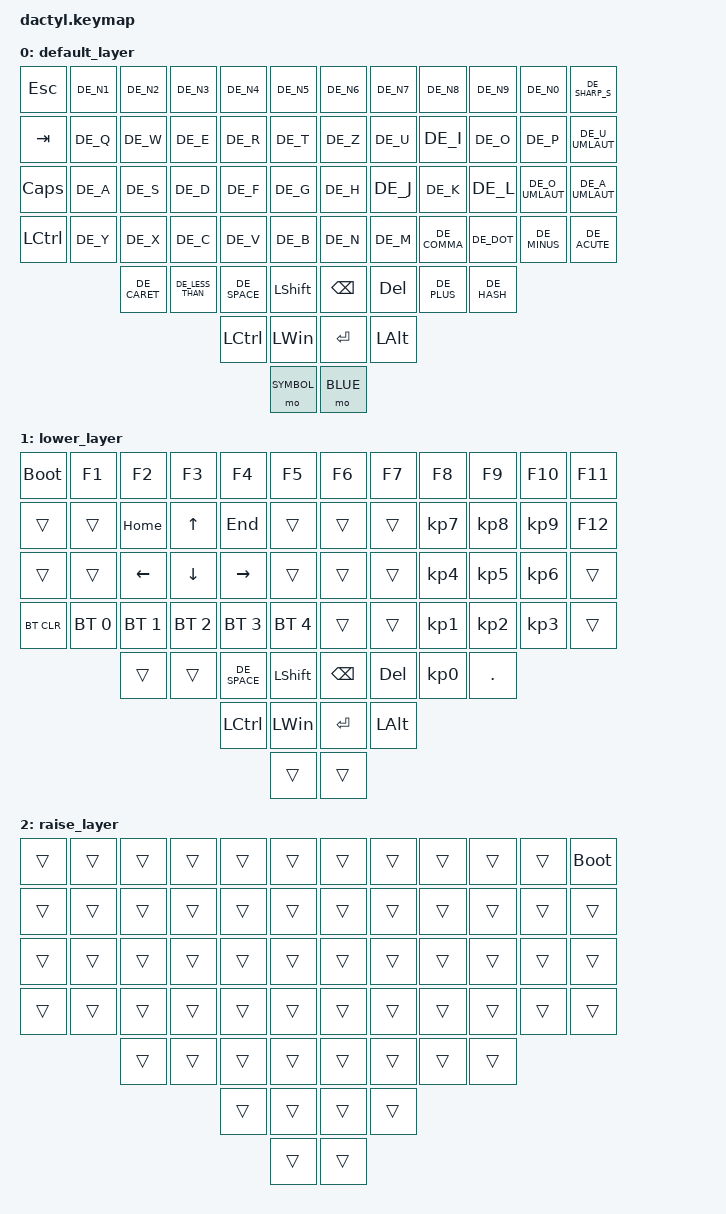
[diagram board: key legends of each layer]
/*
 * Copyright (c) 2020 The ZMK Contributors
 *
 * SPDX-License-Identifier: MIT
 */

#include <behaviors.dtsi>
#include <dt-bindings/zmk/keys.h>
#include <dt-bindings/zmk/bt.h>
#include <locale/keys_de.h>

#define DEFAULT   0
#define BLUE      1
#define SYMBOL	  2

/ {
        keymap {
                compatible = "zmk,keymap";

                default_layer {

                        bindings = <
   &kp ESC   &kp DE_N1       &kp DE_N2     &kp DE_N3 		 &kp DE_N4           &kp DE_N5   			&kp DE_N6  &kp DE_N7  &kp DE_N8     &kp DE_N9   &kp DE_N0       &kp DE_SHARP_S 
   &kp TAB   &kp DE_Q        &kp DE_W      &kp DE_E          &kp DE_R            &kp DE_T   			&kp DE_Z   &kp DE_U   &kp DE_I      &kp DE_O    &kp DE_P        &kp DE_U_UMLAUT 
   &kp CAPS  &kp DE_A        &kp DE_S      &kp DE_D          &kp DE_F            &kp DE_G    			&kp DE_H   &kp DE_J   &kp DE_K      &kp DE_L    &kp DE_O_UMLAUT &kp DE_A_UMLAUT
   &kp LCTRL &kp DE_Y        &kp DE_X      &kp DE_C          &kp DE_V            &kp DE_B    			&kp DE_N   &kp DE_M   &kp DE_COMMA  &kp DE_DOT  &kp DE_MINUS    &kp DE_ACUTE
                             &kp DE_CARET  &kp DE_LESS_THAN  &kp DE_SPACE        &kp LSHFT       	    &kp BSPC   &kp DEL    &kp DE_PLUS   &kp DE_HASH
											                 &kp LEFT_CONTROL    &kp LEFT_WIN           &kp ENTER  &kp LEFT_ALT
														                         &mo SYMBOL           	&mo BLUE
                        >;
                };
                lower_layer {

                        bindings = <
	&bootloader    	&kp F1      	&kp F2    			&kp F3     		&kp F4       	    &kp F5         				&kp F6  	&kp F7   &kp F8   		&kp F9    	&kp F10 	&kp F11
	&trans  		&trans  		&kp HOME    		&kp UP  		&kp END			    &trans						&trans		&trans   &kp KP_N7   	&kp KP_N8   &kp KP_N9 	&kp F12
	&trans         	&trans      	&kp LEFT     		&kp DOWN       	&kp RIGHT           &trans         				&trans  	&trans   &kp KP_N4   	&kp KP_N5   &kp KP_N6 	&trans
	&bt BT_CLR     	&bt BT_SEL 0 	&bt BT_SEL 1 		&bt BT_SEL 2 	&bt BT_SEL 3 	    &bt BT_SEL 4				&trans  	&trans   &kp KP_N1   	&kp KP_N2   &kp KP_N3 	&trans 
									&trans       		&trans       	&kp DE_SPACE        &kp LSHFT            		&kp BSPC  	&kp DEL  &kp KP_N0  	&kp DOT
																		&kp LEFT_CONTROL    &kp LEFT_WIN      		    &kp ENTER  	&kp LEFT_ALT
																						    &trans        				&trans
                        >;
                };
				raise_layer {
 
                        bindings = <
   &trans   &trans  &trans   &trans   &trans   &trans      &trans   &trans   &trans   &trans   &trans   &bootloader
   &trans   &trans  &trans   &trans   &trans   &trans      &trans   &trans   &trans   &trans   &trans   &trans
   &trans   &trans  &trans   &trans   &trans   &trans      &trans   &trans   &trans   &trans   &trans   &trans
   &trans   &trans  &trans   &trans   &trans   &trans      &trans   &trans   &trans   &trans   &trans   &trans
                    &trans   &trans   &trans   &trans      &trans   &trans   &trans   &trans
									  &trans   &trans      &trans	 &trans	  
											   &trans      &trans
                        >;
                };
        };
};
